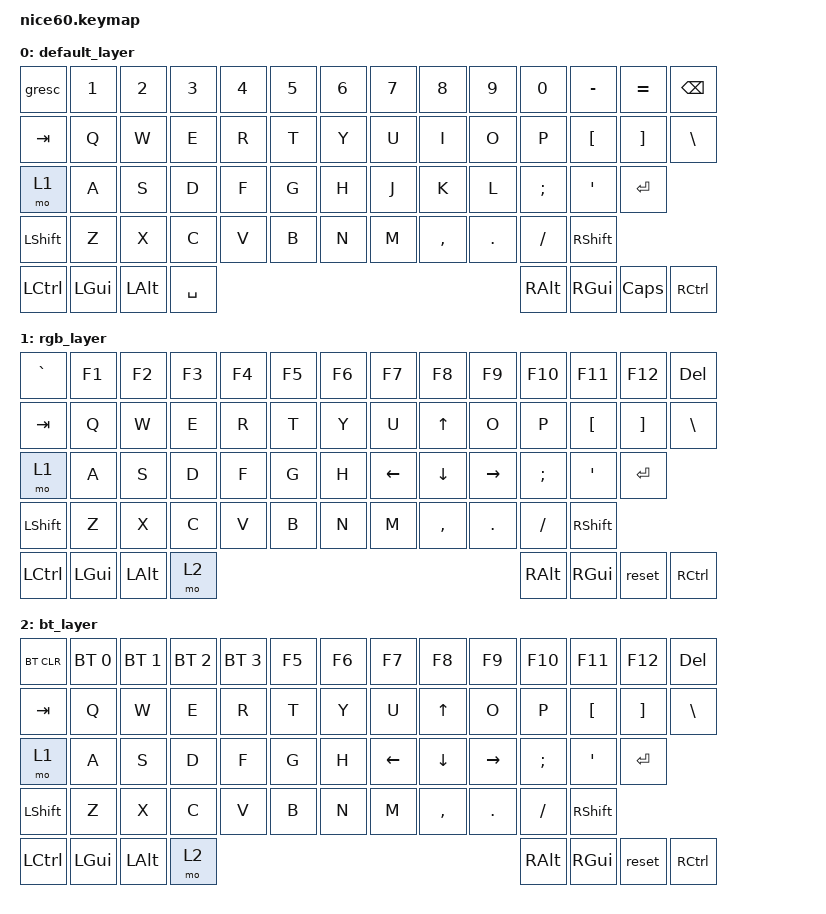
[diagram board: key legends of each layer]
/*
 * Copyright (c) 2021 Nick Winans
 *
 * SPDX-License-Identifier: MIT
 */

#include <behaviors.dtsi>
#include <dt-bindings/zmk/keys.h>
#include <dt-bindings/zmk/rgb.h>
#include <dt-bindings/zmk/bt.h>

/ {
	keymap {
		compatible = "zmk,keymap";
		
		default_layer {
// ------------------------------------------------------------------------------------------
// | ESC |  1  |  2  |  3  |  4  |  5  |  6  |  7  |  8  |  9  |  0  |  -  |  =  |   BKSP   |
// | TAB  |  Q  |  W  |  E  |  R  |  T  |  Y  |  U  |  I  |  O  |  P  |  [  |  ]  |   "|"   |
// | CAPS  |  A  |  S  |  D  |  F  |  G  |  H  |  J  |  K  |  L  |  ;  |  '  |     ENTER    |
// |  SHIFT  |  Z  |  X  |  C  |  V  |  B  |  N  |  M  |  ,  |  .  |  /  |      SHIFT       |
// |  CTL  |  WIN  |  ALT  |            SPACE              |  ALT  |  WIN  |  MO(1) |  CTL  |
// ------------------------------------------------------------------------------------------
			bindings = <
	&gresc  &kp N1 &kp N2 &kp N3 &kp N4 &kp N5 &kp N6 &kp N7 &kp N8 &kp N9 &kp N0 &kp MINUS &kp EQUAL  &kp BSPC
	&kp TAB  &kp Q  &kp W  &kp E  &kp R  &kp T  &kp Y  &kp U  &kp I  &kp O  &kp P  &kp LBKT  &kp RBKT  &kp BSLH
	&mo 1  &kp A  &kp S  &kp D  &kp F  &kp G  &kp H  &kp J  &kp K  &kp L  &kp SEMI &kp SQT           &kp RET
	&kp LSHFT   &kp Z  &kp X  &kp C  &kp V  &kp B  &kp N  &kp M  &kp COMMA &kp DOT &kp FSLH           &kp RSHFT
	&kp LCTRL &kp LGUI &kp LALT             &kp SPACE                     &kp RALT  &kp RGUI  &kp CAPS   &kp RCTRL
			>;
		};

		rgb_layer {
// ------------------------------------------------------------------------------------------------
// | BT CLR | F1  | F2  | F3  | F4  | F5  | F6  | F7  | F8  | F9  | F10  | F11 | F12 | EFFECT REV |
// |  BT 1   |   |  UP |   | HUEUP | SATUP | BRIUP | SPDUP |   |     |    |     |     |           |
// |   BT 2   | LT |  DN  | RT | HUEDN | SATDN | BRIDN | SPDDN |   |     |   |     |  EFFECT FORW |
// |    BT 3     |     |      |      |     |     |     |     |     |     |     |                  |
// |   BT 4  |      |      |             TOG RGB                | PRT SCR |       |       |  DEL  |
// ------------------------------------------------------------------------------------------------
			bindings = <
	&kp GRAVE   &kp F1 &kp F2 &kp F3 &kp F4 &kp F5 &kp F6 &kp F7 	&kp F8 		&kp F9 		&kp F10 	&kp F11   &kp F12 	&kp DEL
	&kp TAB  	&kp Q  &kp W  &kp E  &kp R  &kp T  &kp Y  &kp U  	&kp UP  	&kp O  		&kp P  		&kp LBKT  &kp RBKT  &kp BSLH
	&mo 1  		&kp A  &kp S  &kp D  &kp F  &kp G  &kp H  &kp LEFT  &kp DOWN  	&kp RIGHT  	&kp SEMI 	&kp SQT   &kp RET
	&kp LSHFT   &kp Z  &kp X  &kp C  &kp V  &kp B  &kp N  &kp M  	&kp COMMA 	&kp DOT 	&kp FSLH    &kp RSHFT
	&kp LCTRL 	&kp LGUI 	  &kp LALT         &mo 2            &kp RALT  				&kp RGUI  	&reset				&kp RCTRL
			>;
		};

		bt_layer {
// ------------------------------------------------------------------------------------------------
// | BT CLR | F1  | F2  | F3  | F4  | F5  | F6  | F7  | F8  | F9  | F10  | F11 | F12 | EFFECT REV |
// |  BT 1   |   |  UP |   | HUEUP | SATUP | BRIUP | SPDUP |   |     |    |     |     |           |
// |   BT 2   | LT |  DN  | RT | HUEDN | SATDN | BRIDN | SPDDN |   |     |   |     |  EFFECT FORW |
// |    BT 3     |     |      |      |     |     |     |     |     |     |     |                  |
// |   BT 4  |      |      |             TOG RGB                | PRT SCR |       |       |  DEL  |
// ------------------------------------------------------------------------------------------------
			bindings = <
	&bt BT_CLR   &bt BT_SEL 0 &bt BT_SEL 1 &bt BT_SEL 2 &bt BT_SEL 3 &kp F5 &kp F6 &kp F7 	&kp F8 		&kp F9 		&kp F10 	&kp F11   &kp F12 	&kp DEL
	&kp TAB  	&kp Q  &kp W  &kp E  &kp R  &kp T  &kp Y  &kp U  	&kp UP  	&kp O  		&kp P  		&kp LBKT  &kp RBKT  &kp BSLH
	&mo 1  		&kp A  &kp S  &kp D  &kp F  &kp G  &kp H  &kp LEFT  &kp DOWN  	&kp RIGHT  	&kp SEMI 	&kp SQT   &kp RET
	&kp LSHFT   &kp Z  &kp X  &kp C  &kp V  &kp B  &kp N  &kp M  	&kp COMMA 	&kp DOT 	&kp FSLH    &kp RSHFT
	&kp LCTRL 	&kp LGUI 	  &kp LALT         &mo 2            &kp RALT  				&kp RGUI  	&reset				&kp RCTRL
			>;
		};
	};
};
